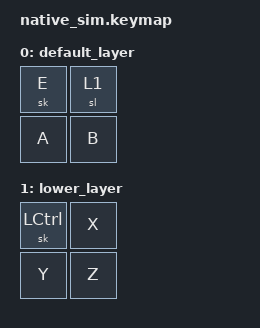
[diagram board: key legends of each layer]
#include <dt-bindings/zmk/keys.h>
#include <behaviors.dtsi>
#include <dt-bindings/zmk/kscan_mock.h>

/ {
    keymap {
        compatible = "zmk,keymap";

        default_layer {
            bindings = <&sk E &sl 1
                        &kp A &kp B>;
        };

        lower_layer {
            bindings = <&sk LEFT_CONTROL &kp X
                        &kp Y &kp Z>;
        };
    };
};

&kscan {
    events = <
              /* tap sl lower_layer */
              ZMK_MOCK_PRESS(0,1,10)
              ZMK_MOCK_RELEASE(0,1,10)
              /* tap sk LEFT_CONTROL */
              ZMK_MOCK_PRESS(0,0,10)
              ZMK_MOCK_RELEASE(0,0,10)
              /* tap A */
              ZMK_MOCK_PRESS(1,0,10)
              ZMK_MOCK_RELEASE(1,0,10)

              /* repeat */
              /* tap sl */
              ZMK_MOCK_PRESS(0,1,10)
              ZMK_MOCK_RELEASE(0,1,10)
              /* tap sk */
              ZMK_MOCK_PRESS(0,0,10)
              ZMK_MOCK_RELEASE(0,0,10)
              /* tap A */
              ZMK_MOCK_PRESS(1,0,10)
              ZMK_MOCK_RELEASE(1,0,10)>;
};
